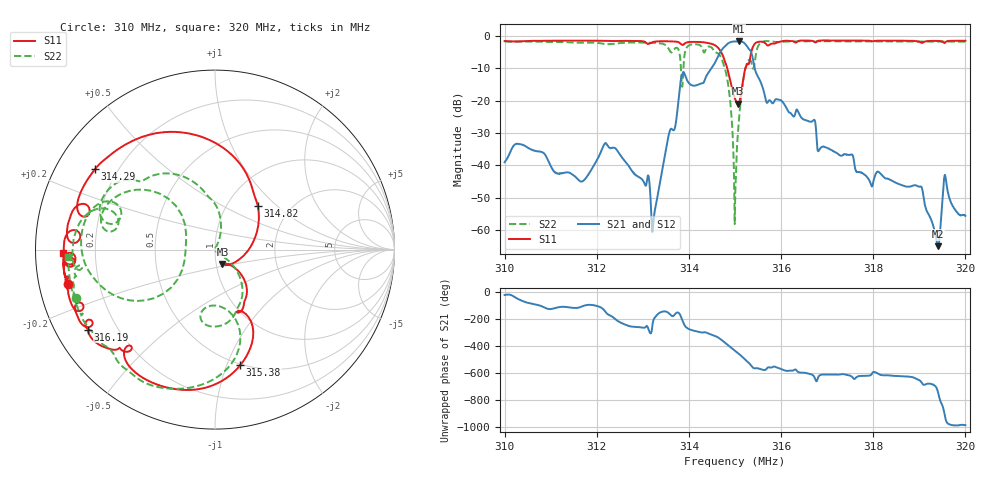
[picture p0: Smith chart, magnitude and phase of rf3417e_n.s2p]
!Keysight Technologies,E5080A,MY55200989,A.11.70.00
!Date: Tuesday, June 05, 2018 09:33:37
!Correction: S11(Full 2 Port(1,2))
!S21(Full 2 Port(1,2))
!S12(Full 2 Port(1,2))
!S22(Full 2 Port(1,2))
!S2P File: Measurements: S11, S21, S12, S22:
# Hz S  dB  R 50
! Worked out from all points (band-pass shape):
!   1601 points, 310 MHz to 320 MHz, reference 50 ohm
!   highest |S21| = -1.65 dB at 315.08 MHz (marker M1); lowest = -65.1 dB at 319.4 MHz (marker M2)
!   |S21| within 3 dB of the highest: 314.696 MHz to 315.3403 MHz (644.3 kHz wide, 0.205 % of centre)
!   lowest |S11| = -20.9 dB at 315.06 MHz (marker M3), VSWR 1.20, Z = 53.6 - j8.61 ohm
!   |S11| at or under -10 dB: 314.8325 MHz to 315.2251 MHz (392.6 kHz wide, 0.125 % of centre)
!   |S22| runs from -58.2 to -1.5 dB; largest |S21 - S12| = 0.00058
!   S11 on the Smith chart (normalised r, x): 310 MHz: 0.09, -0.11; 314.29 MHz: 0.12, +0.30; 314.82 MHz: 1.38, +0.76; 315.38 MHz: 0.49, -1.12; 316.19 MHz: 0.10, -0.29; 320 MHz: 0.08, -0.01
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3.1e8  -1.53 -166.9  -39.07 -19.0  -39.02 -19.1  -1.70 -160.8
3.116688e8  -1.41 -173.4  -45.08 -105.6  -45.03 -105.6  -2.07 -169.2
3.121938e8  -1.52 -177.1  -33.13 -146.8  -33.17 -146.9  -2.53 -172.7
3.131062e8  -2.44 173.9  -43.30 100.5  -43.21 100.3  -2.04 178.3
3.13225e8  -1.81 176.7  -58.31 148.8  -58.37 147.9  -2.06 175.3
3.133375e8  -1.63 174.1  -48.14 -157.7  -48.12 -158.1  -2.17 171.7
3.138562e8  -2.73 163.0  -11.84 154.9  -11.84 154.9  -15.68 -177.1
3.142875e8  -1.88 146.2  -14.62 61.3  -14.62 61.3  -3.66 155.8
3.148188e8  -9.33 45.9  -2.66 -23.2  -2.65 -23.2  -12.25 88.5
3.15e8  -19.39 -53.6  -1.67 -74.7  -1.67 -74.7  -52.64 -134.5
3.150625e8  -20.93 -62.3  -1.66 -91.4  -1.66 -91.4  -30.14 -50.8
3.150812e8  -20.77 -57.9  -1.65 -96.7  -1.65 -96.6  -26.79 -44.0
3.15225e8  -10.00 -56.7  -2.52 -142.2  -2.52 -142.2  -9.96 -62.6
3.153812e8  -3.62 -77.7  -6.63 163.1  -6.63 163.1  -9.59 -99.9
3.155812e8  -1.75 -121.3  -15.16 146.0  -15.15 146.0  -1.89 -105.4
3.161938e8  -1.55 -147.8  -23.73 138.0  -23.73 137.9  -1.68 -143.6
3.166688e8  -1.47 -157.6  -26.45 108.2  -26.45 108.0  -1.60 -153.3
3.183375e8  -1.43 -171.4  -44.28 101.9  -44.30 102.0  -1.67 -168.3
3.19025e8  -1.93 -176.8  -46.59 60.2  -46.57 60.2  -1.70 -172.4
3.194e8  -1.50 -176.8  -65.07 -15.2  -64.98 -14.2  -1.71 -174.3
3.195625e8  -2.00 -174.4  -43.18 147.4  -43.17 147.4  -1.72 -175.1
3.2e8  -1.46 -178.7  -55.68 91.3  -55.58 91.3  -1.73 -177.3
